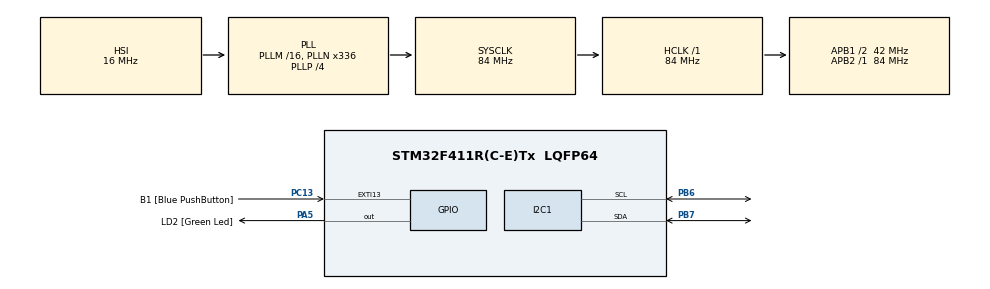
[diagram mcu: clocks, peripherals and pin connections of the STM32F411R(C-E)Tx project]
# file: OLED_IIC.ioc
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I2C1.I2C_Mode=I2C_Fast
Mcu.Family=STM32F4
Mcu.Name=STM32F411R(C-E)Tx
Mcu.Package=LQFP64
NVIC.PriorityGroup=NVIC_PRIORITYGROUP_0
PA0-WKUP.Signal=ADCx_IN0
PA13.GPIO_Label=TMS
PA13.Mode=Serial_Wire
PA13.Signal=SYS_JTMS-SWDIO
PA14.GPIO_Label=TCK
PA14.Mode=Serial_Wire
PA14.Signal=SYS_JTCK-SWCLK
PA2.GPIO_Label=USART_TX
PA2.Signal=USART2_TX
PA3.GPIO_Label=USART_RX
PA3.Signal=USART2_RX
PA5.GPIO_Label=LD2 [Green Led]
PA5.Signal=GPIO_Output
PB3.GPIO_Label=SWO
PB3.Signal=SYS_JTDO-SWO
PB6.Mode=I2C
PB6.Signal=I2C1_SCL
PB7.Mode=I2C
PB7.Signal=I2C1_SDA
PC13-ANTI_TAMP.GPIO_Label=B1 [Blue PushButton]
PC13-ANTI_TAMP.GPIO_ModeDefaultEXTI=GPIO_MODE_IT_FALLING
PC13-ANTI_TAMP.Signal=GPXTI13
PC14-OSC32_IN.Mode=LSE-External-Oscillator
PC14-OSC32_IN.Signal=RCC_OSC32_IN
PC15-OSC32_OUT.Mode=LSE-External-Oscillator
PC15-OSC32_OUT.Signal=RCC_OSC32_OUT
PH0\ -\ OSC_IN.Mode=HSE-External-Clock-Source
PH0\ -\ OSC_IN.Signal=RCC_OSC_IN
PH1\ -\ OSC_OUT.Mode=HSE-External-Clock-Source
PH1\ -\ OSC_OUT.Signal=RCC_OSC_OUT
ProjectManager.HeapSize=0x200
ProjectManager.StackSize=0x400
ProjectManager.TargetToolchain=STM32CubeIDE
RCC.48MHZClocksFreq_Value=84000000
RCC.AHBFreq_Value=84000000
RCC.APB1CLKDivider=RCC_HCLK_DIV2
RCC.APB1Freq_Value=42000000
RCC.APB1TimFreq_Value=84000000
RCC.APB2Freq_Value=84000000
RCC.APB2TimFreq_Value=84000000
RCC.CortexFreq_Value=84000000
RCC.FLatency-AdvancedSettings=FLASH_LATENCY_2
RCC.HCLKFreq_Value=84000000
RCC.HSE_VALUE=8000000
RCC.HSI_VALUE=16000000
RCC.PLLN=336
RCC.PLLP=RCC_PLLP_DIV4
RCC.SYSCLKFreq_VALUE=84000000
RCC.SYSCLKSource=RCC_SYSCLKSOURCE_PLLCLK
RCC.VCOOutputFreq_Value=336000000
SH.ADCx_IN0.0=ADC1_IN0
board=NUCLEO-F411RE

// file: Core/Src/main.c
/* USER CODE BEGIN Header */
/**
  ******************************************************************************
  * @file           : main.c
  * @brief          : Main program body
  ******************************************************************************
  * @attention
  *
  * Copyright (c) 2023 STMicroelectronics.
  * All rights reserved.
  *
  * This software is licensed under terms that can be found in the LICENSE file
  * in the root directory of this software component.
  * If no LICENSE file comes with this software, it is provided AS-IS.
  *
  ******************************************************************************
  */
/* USER CODE END Header */
#include "main.h"

/* USER CODE BEGIN Includes */
#include "fonts.h"
#include "ssd1306.h"
#include "bitmaps.h"
#include <stdio.h>
/* USER CODE END Includes */

I2C_HandleTypeDef hi2c1;

void SystemClock_Config(void);
static void MX_GPIO_Init(void);
static void MX_I2C1_Init(void);

int main(void)
{

  /* MCU Configuration--------------------------------------------------------*/

  /* Reset of all peripherals, Initializes the Flash interface and the Systick. */
  HAL_Init();

  /* Configure the system clock */
  SystemClock_Config();

  /* Initialize all configured peripherals */
  MX_GPIO_Init();
  MX_I2C1_Init();
  /* USER CODE BEGIN 2 */
  SSD1306_Init();
  /* USER CODE END 2 */

  /* Infinite loop */
  /* USER CODE BEGIN WHILE */

  while (1)
  {
	  /* Przykladowe uzycie*/
	  SSD1306_Clear();
	  SSD1306_DrawBitmap(5, 5, (const unsigned char*)jack_84x58, 84, 58, SSD1306_COLOR_WHITE);
	  SSD1306_UpdateScreen();
	  HAL_Delay(2000);

	  SSD1306_Clear();
	  SSD1306_DrawBitmap(5, 5, (const unsigned char*)agh_24x44, 24, 44, SSD1306_COLOR_BLACK);
	  SSD1306_UpdateScreen();
	  HAL_Delay(2000);

	  SSD1306_Clear();
	  SSD1306_GotoXY(5, 10);
	  SSD1306_Puts("abcd !@# fGHIJ <>", &Arial_14x16, SSD1306_COLOR_WHITE);
	  SSD1306_GotoXY(5, 30);
	  SSD1306_Puts("! \41 \42 \43 \44 \45 \46", &figures_6x6, SSD1306_COLOR_WHITE);
	  SSD1306_UpdateScreen();
	  HAL_Delay(2000);

    /* USER CODE END WHILE */

  }
}

void SystemClock_Config(void)
{
  RCC_OscInitTypeDef RCC_OscInitStruct = {0};
  RCC_ClkInitTypeDef RCC_ClkInitStruct = {0};

  /** Configure the main internal regulator output voltage
  */
  __HAL_RCC_PWR_CLK_ENABLE();
  __HAL_PWR_VOLTAGESCALING_CONFIG(PWR_REGULATOR_VOLTAGE_SCALE1);

  /** Initializes the RCC Oscillators according to the specified parameters
  * in the RCC_OscInitTypeDef structure.
  */
  RCC_OscInitStruct.OscillatorType = RCC_OSCILLATORTYPE_HSI;
  RCC_OscInitStruct.HSIState = RCC_HSI_ON;
  RCC_OscInitStruct.HSICalibrationValue = RCC_HSICALIBRATION_DEFAULT;
  RCC_OscInitStruct.PLL.PLLState = RCC_PLL_ON;
  RCC_OscInitStruct.PLL.PLLSource = RCC_PLLSOURCE_HSI;
  RCC_OscInitStruct.PLL.PLLM = 16;
  RCC_OscInitStruct.PLL.PLLN = 336;
  RCC_OscInitStruct.PLL.PLLP = RCC_PLLP_DIV4;
  RCC_OscInitStruct.PLL.PLLQ = 4;
  if (HAL_RCC_OscConfig(&RCC_OscInitStruct) != HAL_OK)
  {
    Error_Handler();
  }

  /** Initializes the CPU, AHB and APB buses clocks
  */
  RCC_ClkInitStruct.ClockType = RCC_CLOCKTYPE_HCLK|RCC_CLOCKTYPE_SYSCLK
                              |RCC_CLOCKTYPE_PCLK1|RCC_CLOCKTYPE_PCLK2;
  RCC_ClkInitStruct.SYSCLKSource = RCC_SYSCLKSOURCE_PLLCLK;
  RCC_ClkInitStruct.AHBCLKDivider = RCC_SYSCLK_DIV1;
  RCC_ClkInitStruct.APB1CLKDivider = RCC_HCLK_DIV2;
  RCC_ClkInitStruct.APB2CLKDivider = RCC_HCLK_DIV1;

  if (HAL_RCC_ClockConfig(&RCC_ClkInitStruct, FLASH_LATENCY_2) != HAL_OK)
  {
    Error_Handler();
  }
}

static void MX_I2C1_Init(void)
{

  hi2c1.Instance = I2C1;
  hi2c1.Init.ClockSpeed = 400000;
  hi2c1.Init.DutyCycle = I2C_DUTYCYCLE_2;
  hi2c1.Init.OwnAddress1 = 0;
  hi2c1.Init.AddressingMode = I2C_ADDRESSINGMODE_7BIT;
  hi2c1.Init.DualAddressMode = I2C_DUALADDRESS_DISABLE;
  hi2c1.Init.OwnAddress2 = 0;
  hi2c1.Init.GeneralCallMode = I2C_GENERALCALL_DISABLE;
  hi2c1.Init.NoStretchMode = I2C_NOSTRETCH_DISABLE;
  if (HAL_I2C_Init(&hi2c1) != HAL_OK)
  {
    Error_Handler();
  }

}

static void MX_GPIO_Init(void)
{
  GPIO_InitTypeDef GPIO_InitStruct = {0};

  /* GPIO Ports Clock Enable */
  __HAL_RCC_GPIOC_CLK_ENABLE();
  __HAL_RCC_GPIOH_CLK_ENABLE();
  __HAL_RCC_GPIOA_CLK_ENABLE();
  __HAL_RCC_GPIOB_CLK_ENABLE();

  /*Configure GPIO pin Output Level */
  HAL_GPIO_WritePin(LD2_GPIO_Port, LD2_Pin, GPIO_PIN_RESET);

  /*Configure GPIO pin : B1_Pin */
  GPIO_InitStruct.Pin = B1_Pin;
  GPIO_InitStruct.Mode = GPIO_MODE_IT_FALLING;
  GPIO_InitStruct.Pull = GPIO_NOPULL;
  HAL_GPIO_Init(B1_GPIO_Port, &GPIO_InitStruct);

  /*Configure GPIO pin : PA0 */
  GPIO_InitStruct.Pin = GPIO_PIN_0;
  GPIO_InitStruct.Mode = GPIO_MODE_ANALOG;
  GPIO_InitStruct.Pull = GPIO_NOPULL;
  HAL_GPIO_Init(GPIOA, &GPIO_InitStruct);

  /*Configure GPIO pins : USART_TX_Pin USART_RX_Pin */
  GPIO_InitStruct.Pin = USART_TX_Pin|USART_RX_Pin;
  GPIO_InitStruct.Mode = GPIO_MODE_AF_PP;
  GPIO_InitStruct.Pull = GPIO_NOPULL;
  GPIO_InitStruct.Speed = GPIO_SPEED_FREQ_VERY_HIGH;
  GPIO_InitStruct.Alternate = GPIO_AF7_USART2;
  HAL_GPIO_Init(GPIOA, &GPIO_InitStruct);

  /*Configure GPIO pin : LD2_Pin */
  GPIO_InitStruct.Pin = LD2_Pin;
  GPIO_InitStruct.Mode = GPIO_MODE_OUTPUT_PP;
  GPIO_InitStruct.Pull = GPIO_NOPULL;
  GPIO_InitStruct.Speed = GPIO_SPEED_FREQ_LOW;
  HAL_GPIO_Init(LD2_GPIO_Port, &GPIO_InitStruct);

}

void Error_Handler(void)
{
  __disable_irq();
  while (1)
  {
  }
}
